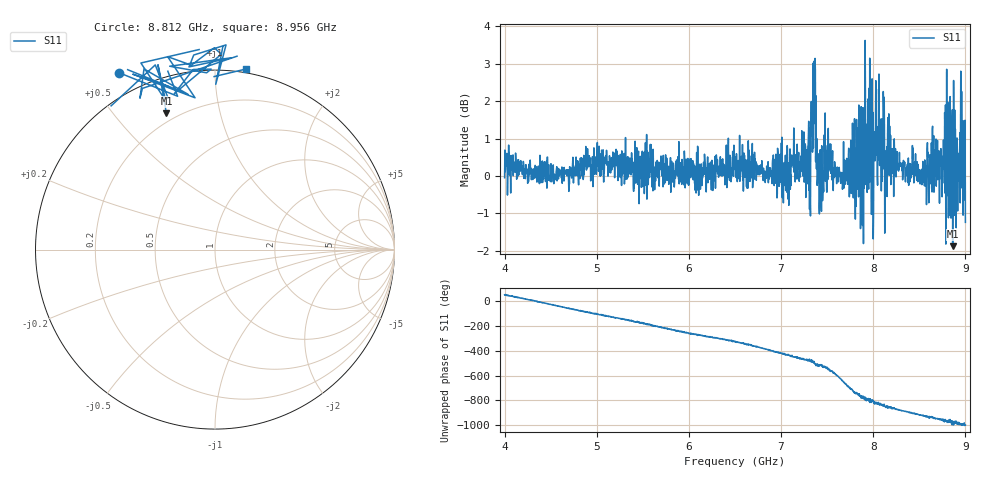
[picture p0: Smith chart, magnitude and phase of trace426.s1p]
! Created with skrf 1.8.0 (http://scikit-rf.org).
# Hz S RI R 50.0
!freq ReS11 ImS11
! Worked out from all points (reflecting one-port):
!   1601 points, 4 GHz to 9 GHz, reference 50 ohm
!   lowest |S11| = -1.9 dB at 8.862 GHz (marker M1), VSWR 9.31, Z = 7.99 + j34.6 ohm
!   phase of S11 starts at 51 deg and turns -1049 deg over the sweep
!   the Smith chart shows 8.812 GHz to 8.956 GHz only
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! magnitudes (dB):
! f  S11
! 4 GHz  0.0
! 4.625 GHz  -0.2
! 5.25 GHz  0.1
! 5.875 GHz  0.0
! 6.5 GHz  0.4
! 7.038 GHz  0.1
! 7.125 GHz  0.3
! 7.294 GHz  0.8
! 7.328 GHz  2.0
! 7.347 GHz  3.0
! 7.372 GHz  2.8
! 7.406 GHz  0.5
! 7.438 GHz  -0.9
! 7.525 GHz  0.6
! 7.65 GHz  -0.1
! 7.75 GHz  0.2
! 7.788 GHz  0.4
! 7.844 GHz  1.9
! 7.881 GHz  1.0
! 7.928 GHz  0.8
! 7.991 GHz  -0.3
! 8.05 GHz  1.3
! 8.081 GHz  1.5
! 8.375 GHz  0.1
! 8.862 GHz  -1.9
! 8.919 GHz  0.1
! 8.972 GHz  0.4
! 9 GHz  -1.2
